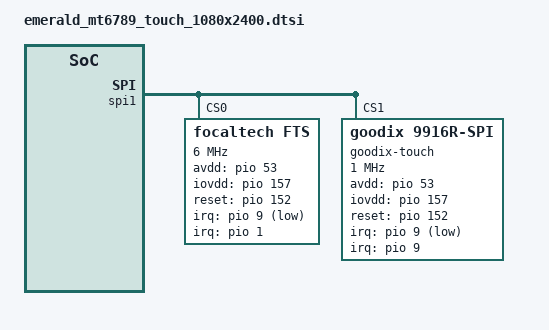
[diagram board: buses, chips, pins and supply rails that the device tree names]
/* TOUCH start */
&spi1 {
	focaltech@0 {
		compatible = "focaltech,fts";
		reg = <0>;
		status = "ok";
		//panel = <&dsi_panel_n6_42_0d_0a_dsc_vdo_lcm_drv>;
		spi-max-frequency = <6000000>;
		interrupt-parent = <&pio>;
		interrupts = <1 0x2>;
                focaltech,avdd-name = "avdd";
		focaltech,avdd-gpio = <&pio 53 0x00>;
		focaltech,iovdd-name = "iovdd";
		focaltech,iovdd-gpio = <&pio 157 0x00>;
		focaltech,reset-gpio =  <&pio 152 0x00>;
		focaltech,irq-gpio = <&pio 9 0x2001>;
		focaltech,max-touch-number = <10>;
		/*N6 code for HQ-303888 by dingying at 2023/08/02 start*/
		/*N6 code for HQ-357548 by liaoxianguo at 2023/12/12 start*/
		focaltech,display-coords =  <0 0 17280 38400>;
		/*N6 code for HQ-357548 by liaoxianguo at 2023/12/12 end*/
		/*N6 code for HQ-303888 by dingying at 2023/08/02 end*/
		/*N6 code for HQ-302671 by dingying at 2023/08/08 start*/
		focaltech,touch-range-array = <1 5 10 15 20>;
		focaltech,touch-def-array = <3 3 3 3>;
		focaltech,touch-expert-array = <10 10 10 10
						20 20 15 10
						20 20 20 10>;
		/*N6 code for HQ-302671 by dingying at 2023/08/08 end*/
	};

	goodix-touch@0 {
		/*N6 code for HQ-301678 by dingying at 2023/09/19 start*/
		compatible = "goodix,9916r-spi";
		reg = <1>;
		status = "ok";
		spi-max-frequency = <1000000>;
		interrupt-parent = <&pio>;
		interrupts = <9 0x2001>;
		goodix,avdd-name = "avdd";
		goodix,avdd-gpio = <&pio 53 0x00>;
		goodix,iovdd-name = "iovdd";
		goodix,iovdd-gpio = <&pio 157 0x00>;
		goodix,reset-gpio = <&pio 152 0x0>;
		goodix,irq-gpio = <&pio 9 0x2001>;
		goodix,irq-flags = <2>; /* 1:trigger rising, 2:trigger falling; */
		/* N6 code for HQ-357549 by zhangzhijian5 at 2023/12/12 start*/
		goodix,panel-max-x = <17280>;
		goodix,panel-max-y = <38400>;
		/* N6 code for HQ-357549 by zhangzhijian5 at 2023/12/12 end*/
		goodix,panel-max-w = <255>;
		/* optional properties */
		goodix,panel-max-p = <4096>; /* max pressure that pen device supported */
		//goodix,pen-enable; /* support active stylus device*/
		/* N6 code for HQ-342186 by huangshiquan at 2023/10/31 start*/
		goodix,sleep-enable; /* enter sleep mode */
		/* N6 code for HQ-342186 by huangshiquan at 2023/10/31 end*/
		goodix,firmware-name = "gt9916_ts_fw_visionox.bin";
		goodix,config-name = "goodix_cfg_group.bin";
		/*N6 code for HQ-301678 by dingying at 2023/09/19 end*/
		/*N6 code for HQ-305061 by zhangzhijian5 at 2023/10/30 start*/
		goodix,touch-expert-array = <2 3 2 2
					     4 3 3 2
					     3 3 4 2>;
		/*N6 code for HQ-305061 by zhangzhijian5 at 2023/10/30 end*/
	};
};
/* TOUCH end */
